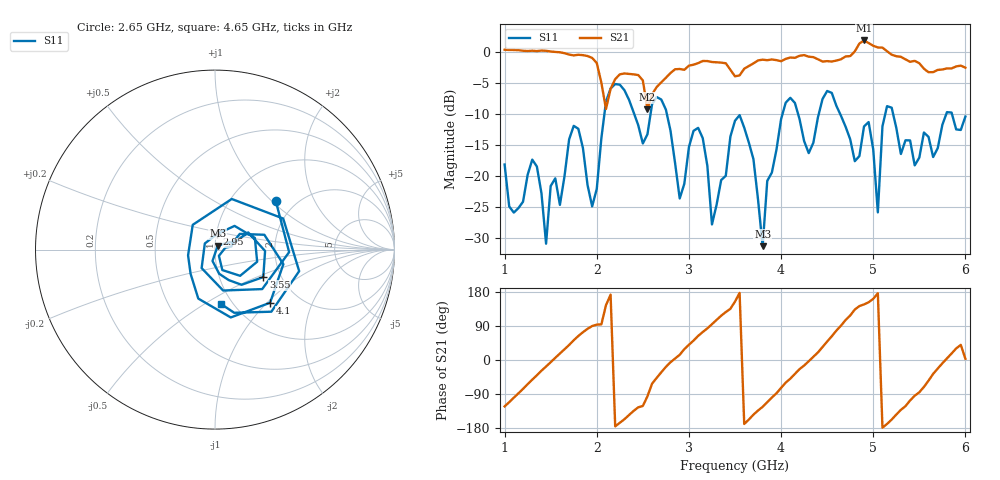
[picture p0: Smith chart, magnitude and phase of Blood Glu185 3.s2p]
! NanoVNA-App
! Date: 2024-03-21 00:53:15
! Start: 1GHz Stop: 6GHz Points: 101
! S-Parameter data: F S11 S21 S12 S22
# Hz S RI R 50
!	Frequency	S11_Real	S11_Imag	S21_Real	S21_Imag	S12_Real	S12_Imag	S22_Real	S22_Imag
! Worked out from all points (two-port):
!   101 points, 1 GHz to 6 GHz, reference 50 ohm
!   highest |S21| = 1.82 dB at 4.9 GHz (marker M1); lowest = -9.2 dB at 2.55 GHz (marker M2)
!   |S21| within 3 dB of the highest: start of sweep to 1.962 GHz; 4.653 GHz to 5.345 GHz (691.9 MHz wide, 13.8 % of centre)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
!   lowest |S11| = -31.3 dB at 3.8 GHz (marker M3), VSWR 1.06, Z = 51.5 + j2.32 ohm
!   |S11| at or under -10 dB: start of sweep to 2.083 GHz; 2.76 GHz to 4.016 GHz (1.255 GHz wide, 37.1 % of centre); 5.216 GHz to 5.793 GHz (577 MHz wide, 10.5 % of centre)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
!   S12 and S22 are empty: the file has one direction only
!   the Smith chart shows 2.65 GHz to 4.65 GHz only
!   S11 on the Smith chart (normalised r, x): 2.65 GHz: 1.60, +1.06; 2.95 GHz: 1.01, +0.17; 3.55 GHz: 1.62, -0.55; 4.1 GHz: 1.44, -1.04; 4.65 GHz: 0.88, -0.59
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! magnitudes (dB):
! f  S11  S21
! 1 GHz  -18.1  0.3
! 1.35 GHz  -18.4  0.1
! 1.45 GHz  -30.9  0.2
! 1.85 GHz  -15.5  -0.5
! 1.95 GHz  -24.9  -1.0
! 2.15 GHz  -5.9  -6.0
! 2.55 GHz  -13.3  -9.2
! 2.65 GHz  -7.3  -5.7
! 2.7 GHz  -7.7  -4.9
! 2.95 GHz  -21.2  -2.9
! 3.1 GHz  -12.2  -1.8
! 3.25 GHz  -27.8  -1.6
! 3.5 GHz  -11.1  -3.9
! 3.55 GHz  -10.2  -3.8
! 3.8 GHz  -31.3  -1.3
! 4.1 GHz  -7.4  -0.9
! 4.35 GHz  -14.6  -0.9
! 4.65 GHz  -10.3  -1.2
! 4.9 GHz  -12.0  1.8
! 5.05 GHz  -25.8  0.7
! 5.2 GHz  -9.0  -0.5
! 6 GHz  -10.4  -2.6
